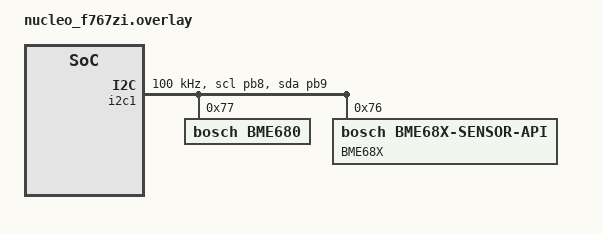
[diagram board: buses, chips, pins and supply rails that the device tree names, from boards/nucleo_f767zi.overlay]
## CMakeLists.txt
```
# SPDX-License-Identifier: Apache-2.0

cmake_minimum_required(VERSION 3.20.5)

# Add path to the extra module if bme68x is not
# installed as an external project managed by West:
#
# list(APPEND ZEPHYR_EXTRA_MODULES
#    ${CMAKE_SOURCE_DIR}/../..
# )

find_package(Zephyr REQUIRED HINTS $ENV{ZEPHYR_BASE})
project(sample-bme68x-iaq)

target_sources(app PRIVATE
  src/main.c
)

target_include_directories(app PRIVATE ${CMAKE_CURRENT_SOURCE_DIR}/../../drivers/bme68x-sensor-api/include)

target_compile_options(app PRIVATE -Wall -Werror)
```

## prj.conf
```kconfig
# SPDX-License-Identifier: Apache-2.0

# Implied when the devicetree contains compatible devices:
# CONFIG_BME68X_SENSOR_API_DRIVER=y
# CONFIG_BME68X_SENSOR_API=y

# Enable BSEC library and IAQ helpers API.
CONFIG_BSEC=y
CONFIG_BME68X_SENSOR_API=y
CONFIG_BME68X_IAQ=y
# Troubleshoot BSEC control loop.
# CONFIG_BME68X_IAQ_LOG_LEVEL_DBG=y

# Adjust stick size to accommodate the BSEC working buffers.
CONFIG_MAIN_STACK_SIZE=8192

# To enable the floating-point version of BME68X Sensor API:
# CONFIG_BME68X_SENSOR_API_FLOAT=y
# If so, consider to also enable float support in cbprintf():
# CONFIG_CBPRINTF_FP_SUPPORT=y
#
# Without CBPRINTF_FP_SUPPORT, logging float format specifiers
# would output:
# - picolibc: T:*float* deg C, P:*float* kPa, H:*float* %, G:*float* kOhm
# - newlibc:  T:%.02f deg C, P:%.03f kPa, H:%.03f %, G:%.03f kOhm
#
# See e.g. https://github.com/zephyrproject-rtos/zephyr/issues/18351

# To enable hardware floating-point ABI:
# CONFIG_FPU=y

# Troubleshoot communication interfaces
# CONFIG_I2C_LOG_LEVEL_DBG=y
# CONFIG_SPI_LOG_LEVEL_DBG=y

CONFIG_LOG=y
CONFIG_STDOUT_CONSOLE=y
```

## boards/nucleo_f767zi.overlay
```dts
/*
 * SPDX-License-Identifier: Apache-2.0
 *
 * Example DTS overlay with a single BME680/688 device
 * connected to I2C and a flash partition dedicated
 * to BSEC state persistence.
 *
 * This overlay is for the nucleo_f767zi board.
 *
 * Also shows explicit I2C1 config and assignment of both BME680 (0x77)
 * and BME68x Sensor API (0x76) addresses/presentations.
 */

&i2c1 {
    status = "okay";
    clock-frequency = <100000>; /* 100 kHz */
    pinctrl-0 = <&i2c1_scl_pb8 &i2c1_sda_pb9>;
    pinctrl-names = "default";

    bme680@77 {
        compatible = "bosch,bme680";
        reg = <0x77>;
        label = "BME680";
    };

    bme68x@76 {
        compatible = "bosch,bme68x-sensor-api";
        reg = <0x76>;
        label = "BME68X";
    };
};
```

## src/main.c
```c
/*
 * BME68x + BSEC IAQ demo (based on bme68x module sample)
 * Target: NUCLEO-F767ZI
 */

#include <errno.h>

#include <zephyr/kernel.h>
#include <zephyr/device.h>
#include <zephyr/devicetree.h>
#include <zephyr/logging/log.h>

#ifdef CONFIG_BME68X_IAQ_SETTINGS
#include <zephyr/settings/settings.h>
#endif

/* This header is provided by the bme68x zephyr module (sensor api wrapper) */
#include <drivers/bme68x_sensor_api.h>

/* Bosch Sensor API device struct */
#include "bme68x.h"

/* IAQ library interface from the module */
#include "bme68x_iaq.h"

LOG_MODULE_REGISTER(bme68x_iaq_demo, LOG_LEVEL_INF);

/* Print helper (avoid float printf requirements by formatting carefully) */
static const char *accuracy2str(enum bme68x_iaq_accuracy a)
{
	switch (a) {
	case BME68X_IAQ_ACCURACY_UNRELIABLE: return "unreliable";
	case BME68X_IAQ_ACCURACY_LOW:        return "low";
	case BME68X_IAQ_ACCURACY_MEDIUM:     return "medium";
	case BME68X_IAQ_ACCURACY_HIGH:       return "high";
	default:                             return "?";
	}
}

static const char *stab2str(enum bme68x_iaq_status s)
{
	switch (s) {
	case BME68X_IAQ_STAB_ONGOING:  return "ongoing";
	case BME68X_IAQ_STAB_FINISHED: return "finished";
	default:                       return "?";
	}
}

#if 0
/* Callback invoked by IAQ run-loop each time BSEC produces outputs */
/* Floating-point print variant */
static void iaq_output_handler_flt(const struct bme68x_iaq_sample *s)
{
	/* Raw signals are already “physical units” as floats from the library */
	LOG_INF("T=%.2f C  H=%.2f %%  P=%.2f hPa  Gas=%.0f ohm | IAQ=%.1f (%s) | CO2eq=%.0f ppm (%s) | VOC=%.2f ppm (%s) | stab=%s run=%s",
		(double)s->temperature,
		(double)s->humidity,
		(double)s->raw_pressure,        /* depends on library: may already be hPa */
		(double)s->raw_gas_res,         /* ohms */
		(double)s->iaq,
		accuracy2str(s->iaq_accuracy),
		(double)s->co2_equivalent,
		accuracy2str(s->co2_accuracy),
		(double)s->voc_equivalent,
		accuracy2str(s->voc_accuracy),
		stab2str(s->stab_status),
		stab2str(s->run_status));
}
#else
/* Integer print variant (fixed-point scaled or rounded as appropriate) */
static void iaq_output_handler_int(const struct bme68x_iaq_sample *s)
{
	LOG_INF("T=%d.%02d C  H=%d.%02d %%  P=%d.%02d hPa  Gas=%ld ohm | IAQ=%d.%01d (%s) | CO2eq=%ld ppm (%s) | VOC=%d.%02d ppm (%s) | stab=%s run=%s",
		(int)s->temperature, (int)((s->temperature - (int)s->temperature) * 100),
		(int)s->humidity, (int)((s->humidity - (int)s->humidity) * 100),
		(int)s->raw_pressure, (int)((s->raw_pressure - (int)s->raw_pressure) * 100),
		(long)s->raw_gas_res,
		(int)s->iaq, (int)((s->iaq - (int)s->iaq) * 10),
		accuracy2str(s->iaq_accuracy),
		(long)s->co2_equivalent,
		accuracy2str(s->co2_accuracy),
		(int)s->voc_equivalent, (int)((s->voc_equivalent - (int)s->voc_equivalent) * 100),
		accuracy2str(s->voc_accuracy),
		stab2str(s->stab_status),
		stab2str(s->run_status));
}
#endif


int main(void)
{
	int ret;

	LOG_INF("*** BME68x + BSEC IAQ Demo (module-based) ***");

	/* Get any compatible BME68x Sensor-API device from DTS */
	const struct device *dev = DEVICE_DT_GET_ONE(bosch_bme68x_sensor_api);
	if (!device_is_ready(dev)) {
		LOG_ERR("BME68x sensor-api device not ready");
		return 0;
	}

	/* Initialize Bosch Sensor API device struct via Zephyr wrapper */
	struct bme68x_dev bme = {0};

	ret = bme68x_sensor_api_init(dev, &bme);
	if (ret) {
		LOG_ERR("bme68x_sensor_api_init failed: %d", ret);
		return 0;
	}

	ret = bme68x_init(&bme);
	if (ret) {
		LOG_ERR("bme68x_init failed: %d", ret);
		return 0;
	}

#ifdef CONFIG_BME68X_IAQ_SETTINGS
	/* Only needed if you enable settings-based state saving */
	ret = settings_subsys_init();
	if (ret) {
		LOG_ERR("settings_subsys_init failed: %d", ret);
		return 0;
	}
#endif

	/*
	 * CRITICAL: This activates IAQ/BSEC scheduling and heater profiles.
	 * If you skip this, heater never runs -> gas resistance stays constant -> IAQ = NA.
	 */
	ret = bme68x_iaq_init();
	if (ret) {
		LOG_ERR("bme68x_iaq_init failed: %d", ret);
		return 0;
	}

	LOG_INF("Init OK. Entering IAQ sample loop...");

	struct bme68x_iaq_sample sample;
#if defined(CONFIG_BME68X_IAQ_SAMPLE_RATE_ULP)
	k_timeout_t period = K_SECONDS(300);
#else
	k_timeout_t period = K_SECONDS(3);
#endif

	while (true) {
		ret = bme68x_iaq_sample(&bme, &sample);
		if (ret == 0) {
			// TODO: Float causes -134 in the lib, use only int for now
			iaq_output_handler_int(&sample);
		} else if (ret != -EAGAIN) {
			LOG_ERR("IAQ sample failed: %d", ret);
			break;
		}
		k_sleep(period);
	}

	return 0;
}
```
